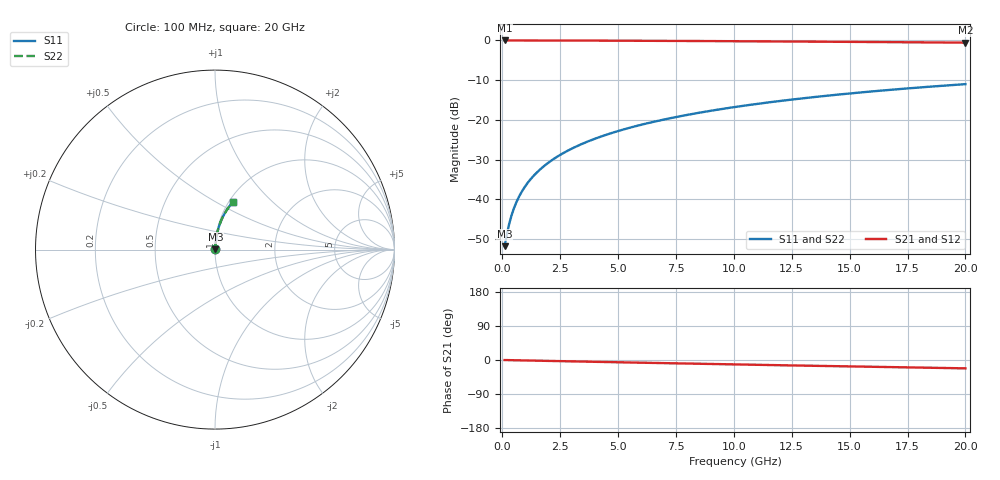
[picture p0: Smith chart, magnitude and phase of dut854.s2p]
! Touchstone file exported from HFSS 2024.1.0
!  File:  C:/UserFiles/LocalFiles/RDL_TSV_Batchsim/temp_RDL_top_854_1779855763.aedt
!  Generated:  12:25:07 PM May 27, 2026
!  Design:  RDL_top
!  Project:  temp_RDL_top_854_1779855763
!  Setup:  Setup1
!  Solution:  Sweep
! Variables:
!  dtsv = 10.80580581um
!  hbump = 3um
!  htsv = 75.43um
!  ldown = 100um
!  lrdl = 249.4um
!  p = 40
!  p1 = 46.81um
!  rhole = 1um
!  t = 450um
!  tdown = 3.915915916um
!  trdl = 3.88um
!  wdown = 15.38538539um
!  wrdl = 11.48um
# GHz S MA R 50.000000
! Terminal data exported
! Port[1] = Box2_T1
! Port[2] = Box2_T2
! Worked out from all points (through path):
!   200 points, 100 MHz to 20 GHz, reference 50 ohm
!   highest |S21| = -0.02 dB at 100 MHz (marker M1); lowest = -0.6 dB at 20 GHz (marker M2)
!   group delay of S21, straight-line fit = 3.05 ps
!   lowest |S11| = -51.8 dB at 100 MHz (marker M3), VSWR 1.01, Z = 50.2 + j0.15 ohm
!   |S11| at or under -10 dB: start of sweep to end of sweep
!   |S22| runs from -51.8 to -11.0 dB; largest |S21 - S12| = 5e-15
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0.1  0.002576 35.4  0.9979 -0.1  0.9979 -0.1  0.002576 35.4
! Gamma 0 0 0 0
! Port Impedance 50 0 50 0
0.2  0.00366 54.4  0.9979 -0.2  0.9979 -0.2  0.00366 54.4
0.3  0.004947 63.9  0.9978 -0.4  0.9978 -0.4  0.004947 63.9
0.4  0.006302 69.3  0.9978 -0.5  0.9978 -0.5  0.006302 69.3
0.5  0.007686 72.8  0.9977 -0.6  0.9977 -0.6  0.007686 72.8
0.6  0.009083 75.2  0.9976 -0.7  0.9976 -0.7  0.009083 75.2
0.8  0.0119 78.2  0.9975 -1.0  0.9975 -1.0  0.0119 78.2
1.1  0.01617 80.8  0.9973 -1.3  0.9973 -1.3  0.01617 80.8
1.5  0.02189 82.5  0.997 -1.8  0.997 -1.8  0.02189 82.5
1.8  0.02619 83.2  0.9967 -2.2  0.9967 -2.2  0.02619 83.2
2.1  0.0305 83.6  0.9964 -2.5  0.9964 -2.5  0.0305 83.6
2.7  0.03914 84.0  0.9957 -3.3  0.9957 -3.3  0.03914 84.0
3.5  0.05068 84.1  0.9944 -4.2  0.9944 -4.2  0.05068 84.1
4.2  0.06078 83.9  0.993 -5.0  0.993 -5.0  0.06078 83.9
5  0.07234 83.5  0.9913 -6.0  0.9913 -6.0  0.07234 83.4
5.9  0.08535 82.9  0.9891 -7.0  0.9891 -7.0  0.08535 82.9
6.8  0.09837 82.2  0.9866 -8.1  0.9866 -8.1  0.09837 82.2
8.3  0.12 81.0  0.9822 -9.7  0.9822 -9.7  0.12 81.0
10.1  0.1459 79.3  0.9763 -11.7  0.9763 -11.7  0.1459 79.3
13.4  0.1926 76.1  0.9642 -15.3  0.9642 -15.3  0.1926 76.1
16.7  0.238 72.8  0.9509 -18.7  0.9509 -18.7  0.238 72.8
20  0.2815 69.5  0.9365 -22.0  0.9365 -22.0  0.2815 69.5
